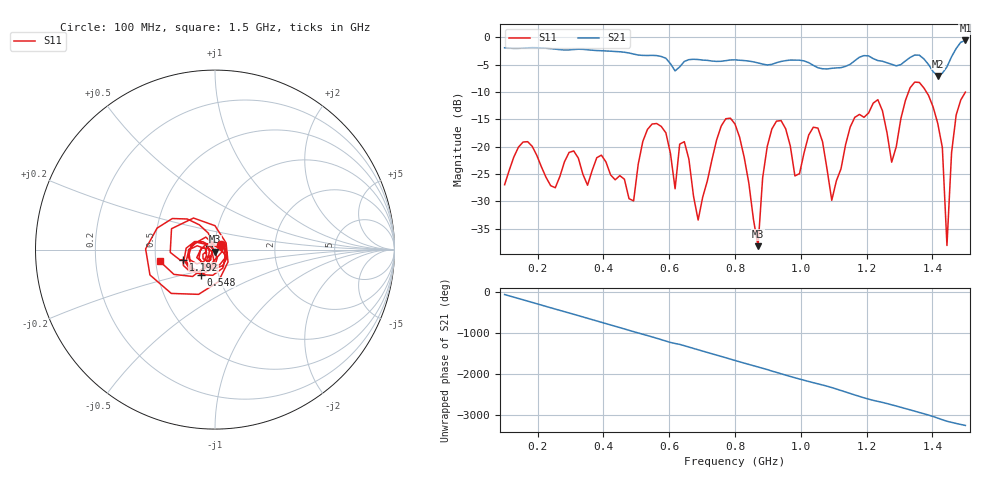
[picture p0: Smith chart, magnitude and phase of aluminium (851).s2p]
! NanoVNA-App
! Date: 2025-09-25 15:01:54
! Start: 100MHz Stop: 1,5GHz Points: 101
! S-Parameter data: F S11 S21 S12 S22
# Hz S RI R 50
!  Frequency  S11_Real  S11_Imag  S21_Real  S21_Imag  S12_Real  S12_Imag  S22_Real  S22_Imag
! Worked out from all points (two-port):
!   101 points, 100 MHz to 1.5 GHz, reference 50 ohm
!   highest |S21| = -0.58 dB at 1.5 GHz (marker M1); lowest = -7.1 dB at 1.416 GHz (marker M2)
!   |S21| within 3 dB of the highest: start of sweep to 578.9 MHz; 1.458 GHz to end of sweep (the widest 2 of 4)
!   lowest |S11| = -38.2 dB at 870 MHz (marker M3), VSWR 1.02, Z = 50 - j1.23 ohm
!   |S11| at or under -10 dB: start of sweep to 1.327 GHz; 1.382 GHz to end of sweep
!   S12 and S22 are empty: the file has one direction only
!   S11 on the Smith chart (normalised r, x): 100 MHz: 1.07, +0.06; 548 MHz: 0.82, -0.24; 1.192 GHz: 0.70, -0.08; 1.5 GHz: 0.52, -0.08
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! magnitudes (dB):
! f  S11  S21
! 100 MHz  -27.0  -1.9
! 156 MHz  -19.2  -2.0
! 338 MHz  -25.1  -2.2
! 492 MHz  -29.9  -3.1
! 548 MHz  -15.9  -3.3
! 576 MHz  -16.3  -3.5
! 618 MHz  -27.7  -6.2
! 646 MHz  -19.1  -4.4
! 688 MHz  -33.4  -4.1
! 800 MHz  -15.9  -4.1
! 870 MHz  -38.2  -4.7
! 912 MHz  -16.8  -5.0
! 982 MHz  -25.4  -4.2
! 1.038 GHz  -16.4  -5.1
! 1.094 GHz  -29.8  -5.7
! 1.192 GHz  -14.6  -3.4
! 1.276 GHz  -22.8  -4.9
! 1.346 GHz  -8.2  -3.3
! 1.416 GHz  -15.7  -7.1
! 1.444 GHz  -38.1  -5.4
! 1.458 GHz  -21.1  -3.6
! 1.5 GHz  -10.0  -0.6
